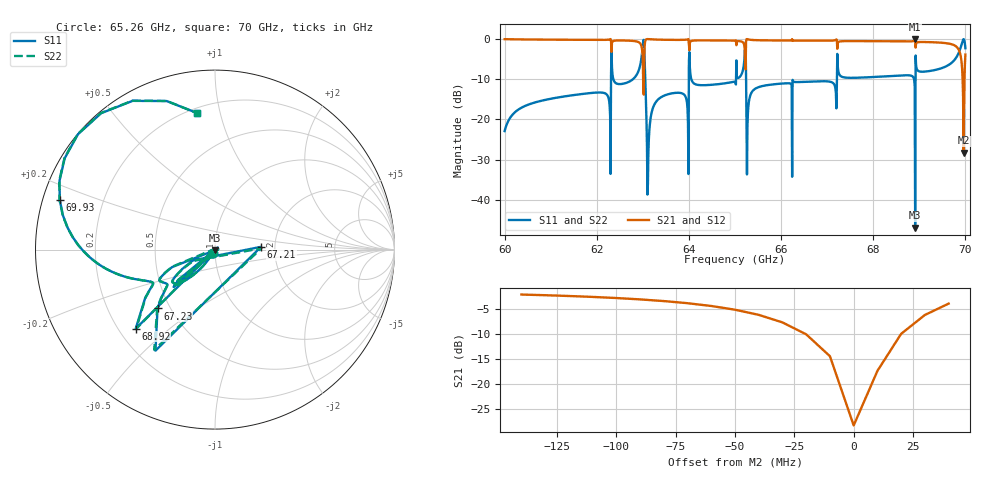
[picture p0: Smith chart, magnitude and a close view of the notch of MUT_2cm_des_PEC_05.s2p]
! TOUCHSTONE file generated by CST MICROWAVE STUDIO
! Date and time: Mon Feb 26 23:25:14 2024
! Project name: material_desal.cst
! Header version: 2018
! Port assignment regex: !\s*Touchstone port\s*([0-9]+)\s*=\s*(CST MWS port|CST DS port)\s*([0-9]+|Zmin|Zmax)\s*\(\"(.*)\"\)(\s*mode\s*([0-9]+))?.*
! Touchstone port assignment:
! Touchstone port 1 = CST MWS port 1 ("")
! Touchstone port 2 = CST MWS port 2 ("")
# GHz S MA R 376.7
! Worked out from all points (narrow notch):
!   1001 points, 60 GHz to 70 GHz, reference 376.7 ohm
!   highest |S21| = 0.00 dB at 68.91 GHz (marker M1); lowest = -28.3 dB at 69.96 GHz (marker M2)
!   notch at M2: 27.9 dB deep, 24.3 MHz wide at half that depth
!   lowest |S11| = -47.0 dB at 68.91 GHz (marker M3), VSWR 1.01, Z = 375 - j3.01 ohm
!   |S11| at or under -10 dB: start of sweep to 62.31 GHz; 64.05 GHz to 65.02 GHz (969.7 MHz wide, 1.5 % of centre); 65.24 GHz to 67.21 GHz (1.972 GHz wide, 2.98 % of centre)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
!   |S22| runs from -47.0 to 0.0 dB; largest |S21 - S12| = 0.015
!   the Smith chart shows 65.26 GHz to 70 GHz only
!   S11 on the Smith chart (normalised r, x): 65.26 GHz: 0.98, -0.03; 67.21 GHz: 1.69, +0.06; 67.23 GHz: 0.43, -0.35; 68.92 GHz: 0.27, -0.39; 69.93 GHz: 0.05, +0.16; 70 GHz: 0.23, +0.85
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60  0.07145 -111.2  0.9975 158.9  0.9974 158.9  0.07145 -111.0
61.67  0.2067 -123.6  0.9784 146.4  0.9784 146.4  0.2067 -123.6
62.25  0.1888 -129.5  0.982 140.6  0.982 140.6  0.1888 -129.3
62.36  0.3165 -122.9  0.9486 147.0  0.9486 147.0  0.3165 -123.1
62.93  0.4424 -140.2  0.8968 129.8  0.8968 129.8  0.4425 -140.1
62.99  0.7343 -161.4  0.6789 108.6  0.679 108.6  0.7342 -161.3
63.06  0.2366 79.2  0.9715 169.3  0.9715 169.3  0.2368 79.3
63.12  0.03782 -116.6  0.9992 153.2  0.9994 153.2  0.03758 -116.7
63.34  0.1788 -125.7  0.9839 144.3  0.9839 144.2  0.1788 -125.7
65  0.2929 -137.3  0.9563 132.7  0.9562 132.7  0.2926 -137.3
65.19  0.4699 -147.4  0.8827 122.7  0.8827 122.7  0.4699 -147.3
65.26  0.02061 -120.3  0.9998 149.2  0.9998 149.2  0.02065 -121.2
66.67  0.2965 -141.3  0.9551 128.8  0.9551 128.8  0.2966 -141.2
67.21  0.2574 3.5  0.9754 93.3  0.9614 93.5  0.2587 1.7
67.23  0.4584 -134.3  0.8882 135.5  0.8892 135.6  0.4583 -134.7
68.34  0.3453 -148.3  0.9386 121.7  0.9382 121.6  0.3453 -148.4
68.91  0.004479 -116.4  1 96.9  1 96.9  0.004479 130.3
68.92  0.624 -135.1  0.7838 134.7  0.7829 134.9  0.6224 -134.9
69.78  0.5658 -166.3  0.8248 103.7  0.8245 103.7  0.5658 -166.3
69.93  0.9082 162.3  0.415 72.3  0.4167 72.2  0.9094 162.3
69.96  0.9979 139.9  0.03848 50.9  0.04023 49.0  0.9997 139.9
70  0.7685 97.6  0.6404 -172.3  0.6406 -172.4  0.7679 97.6
